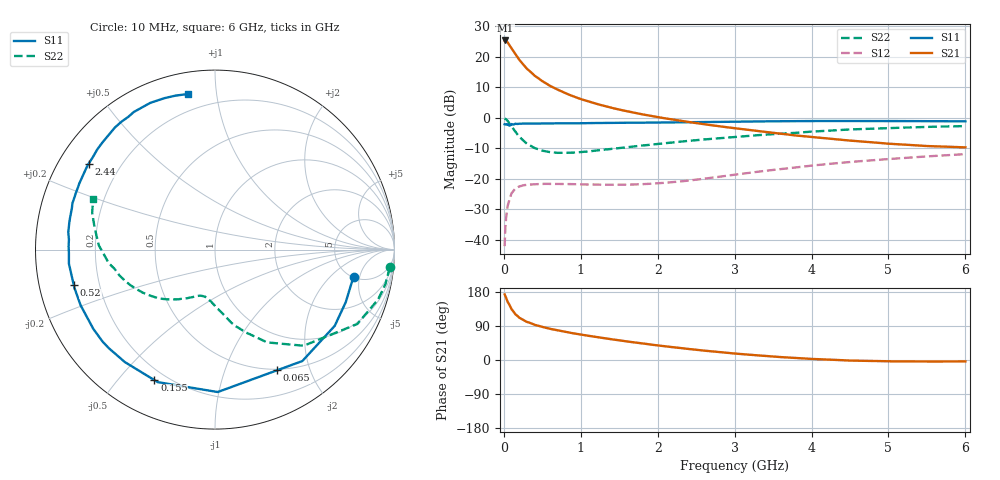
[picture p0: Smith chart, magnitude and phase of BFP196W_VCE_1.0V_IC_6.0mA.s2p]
! Infineon Technologies  Discrete & RF Semiconductors
! BFP196W
! VCE = 1.0 V,  IC = 6.0mA
! Common Emitter S-Parameters:  Jan 2016
# GHz  S  MA  R  50
!  f  S11  S21  S12  S22
! GHz  MAG  ANG  MAG  ANG  MAG  ANG  MAG  ANG
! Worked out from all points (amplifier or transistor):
!   210 points, 10 MHz to 6 GHz, reference 50 ohm
!   highest |S21| = 25.4 dB at 20 MHz (marker M1)
!   |S21| within 3 dB of that: start of sweep to 112.6 MHz
!   unconditionally stable (mu >= 1): 1.34 GHz to 3.584 GHz; 3.636 GHz to 3.814 GHz; 5.337 GHz to end of sweep
!   at 185 MHz: K = 0.16, MSG = 21.2 dB, |S12| = -22.7 dB
!   at 1.52 GHz: K = 1.11, MAG = 10.3 dB, |S12| = -21.9 dB
!   at 6 GHz: K = 1.04, MAG = -0.1 dB, |S12| = -11.9 dB
!   S11 on the Smith chart (normalised r, x): 10 MHz: 5.12, -4.02; 65 MHz: 0.49, -1.53; 155 MHz: 0.15, -0.63; 520 MHz: 0.11, -0.12; 2.44 GHz: 0.09, +0.31; 6 GHz: 0.11, +0.83
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0.01  0.7863 -11.0  18.5 173.0  0.0079 82.2  0.9791 -5.8
0.02  0.7852 -21.9  18.62 169.0  0.016 80.2  0.9684 -11.6
0.03  0.7909 -32.5  18.31 163.7  0.0233 74.9  0.9503 -17.0
0.05  0.7889 -51.9  17.28 153.3  0.0363 65.1  0.8947 -27.6
0.065  0.7561 -62.8  16.1 148.3  0.0423 57.8  0.8354 -32.7
0.1  0.7937 -88.9  13.94 133.9  0.058 47.1  0.729 -47.3
0.15  0.8044 -113.4  11.16 120.5  0.0699 36.0  0.5929 -60.7
0.155  0.8017 -114.9  10.94 119.8  0.0704 35.3  0.5823 -61.4
0.2  0.803 -128.7  8.993 111.7  0.0753 29.3  0.4922 -69.6
0.24  0.8071 -137.0  7.825 106.8  0.0778 25.4  0.441 -75.0
0.3  0.8092 -146.9  6.396 100.5  0.0803 21.5  0.3772 -81.0
0.4  0.8105 -157.5  4.931 92.9  0.082 17.4  0.3213 -88.8
0.52  0.8113 -165.8  3.873 86.3  0.0829 15.1  0.2873 -95.2
0.7  0.8177 -174.5  2.907 78.1  0.0828 13.8  0.2678 -102.0
1.02  0.8171 175.5  2 66.6  0.0813 14.4  0.2767 -111.1
1.4  0.8277 166.3  1.465 54.6  0.0802 18.6  0.3108 -119.5
2.02  0.8413 153.7  1.02 38.1  0.0851 30.3  0.3764 -132.4
2.44  0.8511 145.8  0.843 28.3  0.0952 37.1  0.4248 -141.1
3.1  0.8686 134.4  0.655 15.4  0.1217 42.6  0.499 -155.0
4.1  0.89 119.2  0.475 2.1  0.1701 41.1  0.6054 -174.7
5.1  0.8884 107.7  0.372 -3.7  0.216 34.2  0.6876 168.4
6  0.8801 100.0  0.329 -3.8  0.255 27.5  0.7348 157.6
